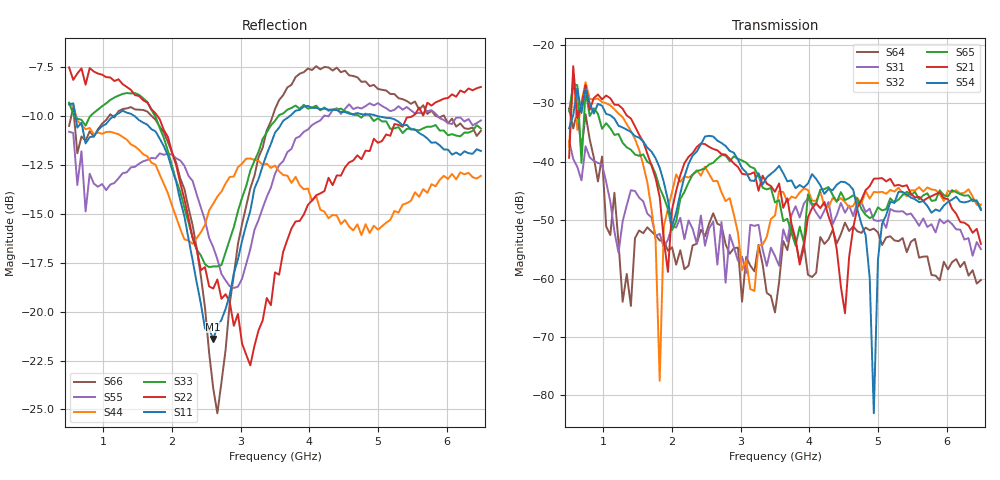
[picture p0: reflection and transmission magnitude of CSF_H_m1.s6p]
!Keysight Technologies,M9804A,MY58100912,A.14.10.03
!Date: Thursday, April 27, 2023 10:28:33
!Correction: S11(C  6-Port  )
!S12(C  6-Port  )
!S13(C  6-Port  )
!S14(C  6-Port  )
!S15(C  6-Port  )
!S16(C  6-Port  )
!S21(C  6-Port  )
!S22(C  6-Port  )
!S23(C  6-Port  )
!S24(C  6-Port  )
!S25(C  6-Port  )
!S26(C  6-Port  )
!S31(C  6-Port  )
!S32(C  6-Port  )
!S33(C  6-Port  )
!S34(C  6-Port  )
!S35(C  6-Port  )
!S36(C  6-Port  )
!S41(C  6-Port  )
!S42(C  6-Port  )
!S43(C  6-Port  )
!S44(C  6-Port  )
!S45(C  6-Port  )
!S46(C  6-Port  )
!S51(C  6-Port  )
!S52(C  6-Port  )
!S53(C  6-Port  )
!S54(C  6-Port  )
!S55(C  6-Port  )
!S56(C  6-Port  )
!S61(C  6-Port  )
!S62(C  6-Port  )
!S63(C  6-Port  )
!S64(C  6-Port  )
!S65(C  6-Port  )
!S66(C  6-Port  )
!S6P File: Measurement: :
# Hz S  RI  R 50
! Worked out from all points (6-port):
!   101 points, 500 MHz to 6.5 GHz, reference 50 ohm
!   strongest paths, dB at 500 MHz, 2 GHz, 3.5 GHz, 5 GHz, 6.5 GHz:
!     S54: -34.2, -51.0, -41.5, -56.8, -48.2
!     S21: -39.3, -48.1, -45.1, -42.9, -54.1
!     S65: -31.4, -51.7, -47.0, -47.8, -48.0
!     S32: -37.4, -45.2, -49.2, -45.2, -47.3
!     S31: -36.4, -51.1, -56.1, -50.1, -55.0
!     S64: -30.9, -54.6, -65.8, -52.1, -60.2
!   lowest |S11| = -21.4 dB at 2.6 GHz (marker M1), VSWR 1.19, Z = 42.5 + j2.3 ohm
!   |S11| at or under -10 dB: 591.9 MHz to 1.148 GHz (556.1 MHz wide, 63.9 % of centre); 1.457 GHz to 3.712 GHz (2.255 GHz wide, 87.3 % of centre); 4.995 GHz to end of sweep
